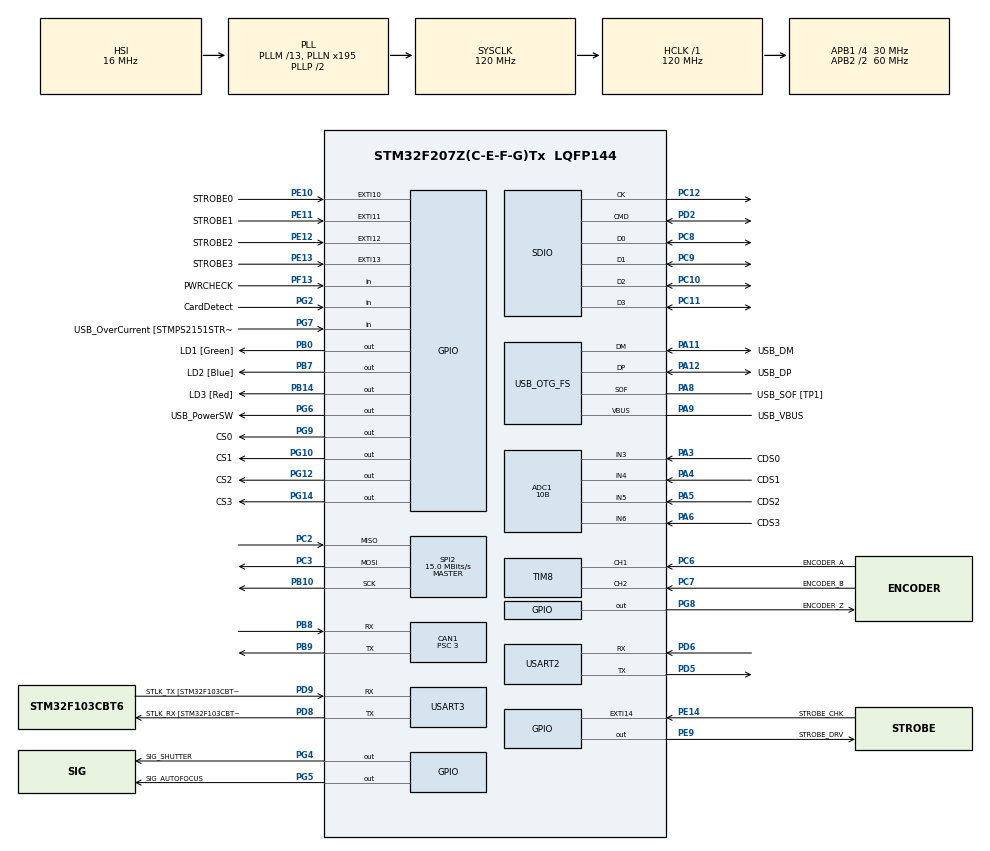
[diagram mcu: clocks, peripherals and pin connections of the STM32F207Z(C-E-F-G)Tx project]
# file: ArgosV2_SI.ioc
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ADC1.Channel-0\#ChannelRegularConversion=ADC_CHANNEL_3
ADC1.Channel-1\#ChannelRegularConversion=ADC_CHANNEL_4
ADC1.Channel-2\#ChannelRegularConversion=ADC_CHANNEL_5
ADC1.Channel-3\#ChannelRegularConversion=ADC_CHANNEL_6
ADC1.NbrOfConversion=4
ADC1.NbrOfConversionFlag=1
ADC1.Rank-0\#ChannelRegularConversion=1
ADC1.Rank-1\#ChannelRegularConversion=2
ADC1.Rank-2\#ChannelRegularConversion=3
ADC1.Rank-3\#ChannelRegularConversion=4
ADC1.Resolution=ADC_RESOLUTION_10B
ADC1.SamplingTime-0\#ChannelRegularConversion=ADC_SAMPLETIME_3CYCLES
ADC1.SamplingTime-1\#ChannelRegularConversion=ADC_SAMPLETIME_3CYCLES
ADC1.SamplingTime-2\#ChannelRegularConversion=ADC_SAMPLETIME_3CYCLES
ADC1.SamplingTime-3\#ChannelRegularConversion=ADC_SAMPLETIME_3CYCLES
ADC1.master=1
CAN1.BS1=CAN_BS1_8TQ
CAN1.CalculateBaudRate=1000000
CAN1.CalculateTimeBit=1000.00
CAN1.CalculateTimeQuantum=100.0
CAN1.Prescaler=3
Dma.ADC1.0.Direction=DMA_PERIPH_TO_MEMORY
Dma.ADC1.0.FIFOMode=DMA_FIFOMODE_DISABLE
Dma.ADC1.0.Instance=DMA2_Stream0
Dma.ADC1.0.MemDataAlignment=DMA_MDATAALIGN_WORD
Dma.ADC1.0.MemInc=DMA_MINC_ENABLE
Dma.ADC1.0.Mode=DMA_CIRCULAR
Dma.ADC1.0.PeriphDataAlignment=DMA_PDATAALIGN_WORD
Dma.ADC1.0.PeriphInc=DMA_PINC_DISABLE
Dma.ADC1.0.Priority=DMA_PRIORITY_LOW
Dma.Request0=ADC1
Dma.Request1=SDIO_RX
Dma.Request2=SDIO_TX
Dma.Request3=SPI2_RX
Dma.Request4=SPI2_TX
Dma.Request5=USART2_RX
Dma.Request6=USART2_TX
Dma.SDIO_RX.1.Direction=DMA_PERIPH_TO_MEMORY
Dma.SDIO_RX.1.FIFOMode=DMA_FIFOMODE_ENABLE
Dma.SDIO_RX.1.FIFOThreshold=DMA_FIFO_THRESHOLD_FULL
Dma.SDIO_RX.1.Instance=DMA2_Stream3
Dma.SDIO_RX.1.MemBurst=DMA_MBURST_INC4
Dma.SDIO_RX.1.MemDataAlignment=DMA_MDATAALIGN_WORD
Dma.SDIO_RX.1.MemInc=DMA_MINC_ENABLE
Dma.SDIO_RX.1.Mode=DMA_PFCTRL
Dma.SDIO_RX.1.PeriphBurst=DMA_PBURST_INC4
Dma.SDIO_RX.1.PeriphDataAlignment=DMA_PDATAALIGN_WORD
Dma.SDIO_RX.1.PeriphInc=DMA_PINC_DISABLE
Dma.SDIO_RX.1.Priority=DMA_PRIORITY_LOW
Dma.SDIO_TX.2.Direction=DMA_MEMORY_TO_PERIPH
Dma.SDIO_TX.2.FIFOMode=DMA_FIFOMODE_ENABLE
Dma.SDIO_TX.2.FIFOThreshold=DMA_FIFO_THRESHOLD_FULL
Dma.SDIO_TX.2.Instance=DMA2_Stream6
Dma.SDIO_TX.2.MemBurst=DMA_MBURST_INC4
Dma.SDIO_TX.2.MemDataAlignment=DMA_MDATAALIGN_WORD
Dma.SDIO_TX.2.MemInc=DMA_MINC_ENABLE
Dma.SDIO_TX.2.Mode=DMA_PFCTRL
Dma.SDIO_TX.2.PeriphBurst=DMA_PBURST_INC4
Dma.SDIO_TX.2.PeriphDataAlignment=DMA_PDATAALIGN_WORD
Dma.SDIO_TX.2.PeriphInc=DMA_PINC_DISABLE
Dma.SDIO_TX.2.Priority=DMA_PRIORITY_LOW
Dma.SPI2_RX.3.Direction=DMA_PERIPH_TO_MEMORY
Dma.SPI2_RX.3.FIFOMode=DMA_FIFOMODE_DISABLE
Dma.SPI2_RX.3.Instance=DMA1_Stream3
Dma.SPI2_RX.3.MemDataAlignment=DMA_MDATAALIGN_BYTE
Dma.SPI2_RX.3.MemInc=DMA_MINC_ENABLE
Dma.SPI2_RX.3.Mode=DMA_NORMAL
Dma.SPI2_RX.3.PeriphDataAlignment=DMA_PDATAALIGN_BYTE
Dma.SPI2_RX.3.PeriphInc=DMA_PINC_DISABLE
Dma.SPI2_RX.3.Priority=DMA_PRIORITY_LOW
Dma.SPI2_TX.4.Direction=DMA_MEMORY_TO_PERIPH
Dma.SPI2_TX.4.FIFOMode=DMA_FIFOMODE_DISABLE
Dma.SPI2_TX.4.Instance=DMA1_Stream4
Dma.SPI2_TX.4.MemDataAlignment=DMA_MDATAALIGN_BYTE
Dma.SPI2_TX.4.MemInc=DMA_MINC_ENABLE
Dma.SPI2_TX.4.Mode=DMA_NORMAL
Dma.SPI2_TX.4.PeriphDataAlignment=DMA_PDATAALIGN_BYTE
Dma.SPI2_TX.4.PeriphInc=DMA_PINC_DISABLE
Dma.SPI2_TX.4.Priority=DMA_PRIORITY_LOW
Dma.USART2_RX.5.Direction=DMA_PERIPH_TO_MEMORY
Dma.USART2_RX.5.FIFOMode=DMA_FIFOMODE_DISABLE
Dma.USART2_RX.5.Instance=DMA1_Stream5
Dma.USART2_RX.5.MemDataAlignment=DMA_MDATAALIGN_BYTE
Dma.USART2_RX.5.MemInc=DMA_MINC_ENABLE
Dma.USART2_RX.5.Mode=DMA_NORMAL
Dma.USART2_RX.5.PeriphDataAlignment=DMA_PDATAALIGN_BYTE
Dma.USART2_RX.5.PeriphInc=DMA_PINC_DISABLE
Dma.USART2_RX.5.Priority=DMA_PRIORITY_LOW
Dma.USART2_TX.6.Direction=DMA_MEMORY_TO_PERIPH
Dma.USART2_TX.6.FIFOMode=DMA_FIFOMODE_DISABLE
Dma.USART2_TX.6.Instance=DMA1_Stream6
Dma.USART2_TX.6.MemDataAlignment=DMA_MDATAALIGN_BYTE
Dma.USART2_TX.6.MemInc=DMA_MINC_ENABLE
Dma.USART2_TX.6.Mode=DMA_NORMAL
Dma.USART2_TX.6.PeriphDataAlignment=DMA_PDATAALIGN_BYTE
Dma.USART2_TX.6.PeriphInc=DMA_PINC_DISABLE
Dma.USART2_TX.6.Priority=DMA_PRIORITY_LOW
FATFS.BSP.number=1
FATFS._CODE_PAGE=949
FATFS._LFN_UNICODE=1
FATFS._USE_LFN=2
FATFS0.BSP.STBoard=false
FATFS0.BSP.api=Unknown
FATFS0.BSP.i2caddr=0
FATFS0.BSP.instance=PG2
FATFS0.BSP.ip=GPIO
FATFS0.BSP.mode=Input
FATFS0.BSP.name=Detect_SDIO
FATFS0.BSP.solution=PG2
Mcu.Family=STM32F2
Mcu.Name=STM32F207Z(C-E-F-G)Tx
Mcu.Package=LQFP144
NVIC.ADC_IRQn=true\:1\:0\:true\:false\:true\:true\:true
NVIC.CAN1_RX0_IRQn=true\:1\:0\:true\:false\:true\:true\:true
NVIC.CAN1_RX1_IRQn=true\:1\:0\:true\:false\:true\:true\:true
NVIC.CAN1_SCE_IRQn=true\:1\:0\:true\:false\:true\:true\:true
NVIC.CAN1_TX_IRQn=true\:1\:0\:true\:false\:true\:true\:true
NVIC.DMA1_Stream3_IRQn=true\:1\:0\:true\:false\:true\:false\:true
NVIC.DMA1_Stream4_IRQn=true\:1\:0\:true\:false\:true\:false\:true
NVIC.DMA1_Stream5_IRQn=true\:1\:0\:true\:false\:true\:false\:true
NVIC.DMA1_Stream6_IRQn=true\:1\:0\:true\:false\:true\:false\:true
NVIC.DMA2_Stream0_IRQn=true\:1\:0\:true\:false\:true\:false\:true
NVIC.DMA2_Stream3_IRQn=true\:1\:0\:true\:false\:true\:false\:true
NVIC.DMA2_Stream6_IRQn=true\:1\:0\:true\:false\:true\:false\:true
NVIC.EXTI15_10_IRQn=true\:0\:0\:true\:false\:true\:true\:true
NVIC.OTG_FS_IRQn=true\:1\:0\:true\:false\:true\:false\:true
NVIC.PriorityGroup=NVIC_PRIORITYGROUP_4
NVIC.SDIO_IRQn=true\:1\:0\:true\:false\:true\:true\:true
NVIC.SPI2_IRQn=true\:1\:0\:true\:false\:true\:true\:true
NVIC.TIM3_IRQn=true\:1\:0\:true\:false\:true\:true\:true
NVIC.USART2_IRQn=true\:1\:0\:true\:false\:true\:true\:true
PA10.GPIO_Label=USB_ID
PA10.Signal=USB_OTG_FS_ID
PA11.GPIO_Label=USB_DM
PA11.Mode=Device_Only
PA11.Signal=USB_OTG_FS_DM
PA12.GPIO_Label=USB_DP
PA12.Mode=Device_Only
PA12.Signal=USB_OTG_FS_DP
PA13.GPIO_Label=TMS
PA13.Mode=Serial_Wire
PA13.Signal=SYS_JTMS-SWDIO
PA14.GPIO_Label=TCK
PA14.Mode=Serial_Wire
PA14.Signal=SYS_JTCK-SWCLK
PA3.GPIO_Label=CDS0
PA3.Signal=ADCx_IN3
PA4.GPIO_Label=CDS1
PA4.Signal=ADCx_IN4
PA5.GPIO_Label=CDS2
PA5.Signal=ADCx_IN5
PA6.GPIO_Label=CDS3
PA6.Signal=ADCx_IN6
PA8.GPIO_Label=USB_SOF [TP1]
PA8.Mode=Activate_SOF_FS
PA8.Signal=USB_OTG_FS_SOF
PA9.GPIO_Label=USB_VBUS
PA9.Mode=Activate_VBUS
PA9.Signal=USB_OTG_FS_VBUS
PB0.GPIO_Label=LD1 [Green]
PB0.GPIO_Speed=GPIO_SPEED_FREQ_VERY_HIGH
PB0.Signal=GPIO_Output
PB10.Mode=Full_Duplex_Master
PB10.Signal=SPI2_SCK
PB14.GPIO_Label=LD3 [Red]
PB14.GPIO_Speed=GPIO_SPEED_FREQ_VERY_HIGH
PB14.Signal=GPIO_Output
PB3.GPIO_Label=SWO
PB3.Signal=SYS_JTDO-SWO
PB7.GPIO_Label=LD2 [Blue]
PB7.GPIO_Speed=GPIO_SPEED_FREQ_VERY_HIGH
PB7.Signal=GPIO_Output
PB8.Mode=CAN_Activate
PB8.Signal=CAN1_RX
PB9.Mode=CAN_Activate
PB9.Signal=CAN1_TX
PC10.GPIO_PuPd=GPIO_PULLUP
PC10.Mode=SD_4_bits_Wide_bus
PC10.Signal=SDIO_D2
PC11.GPIO_PuPd=GPIO_PULLUP
PC11.Mode=SD_4_bits_Wide_bus
PC11.Signal=SDIO_D3
PC12.GPIO_PuPd=GPIO_NOPULL
PC12.Mode=SD_4_bits_Wide_bus
PC12.Signal=SDIO_CK
PC14-OSC32_IN.Mode=LSE-External-Oscillator
PC14-OSC32_IN.Signal=RCC_OSC32_IN
PC15-OSC32_OUT.Mode=LSE-External-Oscillator
PC15-OSC32_OUT.Signal=RCC_OSC32_OUT
PC2.Mode=Full_Duplex_Master
PC2.Signal=SPI2_MISO
PC3.Mode=Full_Duplex_Master
PC3.Signal=SPI2_MOSI
PC6.GPIO_Label=ENCODER_A
PC6.Signal=S_TIM8_CH1
PC7.GPIO_Label=ENCODER_B
PC7.Signal=S_TIM8_CH2
PC8.GPIO_PuPd=GPIO_PULLUP
PC8.Mode=SD_4_bits_Wide_bus
PC8.Signal=SDIO_D0
PC9.GPIO_PuPd=GPIO_PULLUP
PC9.Mode=SD_4_bits_Wide_bus
PC9.Signal=SDIO_D1
PD2.GPIO_PuPd=GPIO_PULLUP
PD2.Mode=SD_4_bits_Wide_bus
PD2.Signal=SDIO_CMD
PD5.Mode=Asynchronous
PD5.Signal=USART2_TX
PD6.Mode=Asynchronous
PD6.Signal=USART2_RX
PD8.GPIO_Label=STLK_RX [STM32F103CBT6_PA3]
PD8.Mode=Asynchronous
PD8.Signal=USART3_TX
PD9.GPIO_Label=STLK_TX [STM32F103CBT6_PA2]
PD9.Mode=Asynchronous
PD9.Signal=USART3_RX
PE10.GPIO_Label=STROBE0
PE10.Signal=GPXTI10
PE11.GPIO_Label=STROBE1
PE11.Signal=GPXTI11
PE12.GPIO_Label=STROBE2
PE12.Signal=GPXTI12
PE13.GPIO_Label=STROBE3
PE13.Signal=GPXTI13
PE14.GPIO_Label=STROBE_CHK
PE14.Signal=GPXTI14
PE9.GPIO_Label=STROBE_DRV
PE9.GPIO_Speed=GPIO_SPEED_FREQ_VERY_HIGH
PE9.Signal=GPIO_Output
PF13.GPIO_Label=PWRCHECK
PF13.GPIO_PuPd=GPIO_PULLDOWN
PF13.Signal=GPIO_Input
PG10.GPIO_Label=CS1
PG10.Signal=GPIO_Output
PG12.GPIO_Label=CS2
PG12.Signal=GPIO_Output
PG14.GPIO_Label=CS3
PG14.Signal=GPIO_Output
PG2.GPIO_Label=CardDetect
PG2.GPIO_PuPd=GPIO_PULLUP
PG2.Signal=GPIO_Input
PG4.GPIO_Label=SIG_SHUTTER
PG4.GPIO_Speed=GPIO_SPEED_FREQ_VERY_HIGH
PG4.Signal=GPIO_Output
PG5.GPIO_Label=SIG_AUTOFOCUS
PG5.Signal=GPIO_Output
PG6.GPIO_Label=USB_PowerSW
PG6.Signal=GPIO_Output
PG7.GPIO_Label=USB_OverCurrent [STMPS2151STR_FAULT]
PG7.Signal=GPIO_Input
PG8.GPIO_Label=ENCODER_Z
PG8.Signal=GPIO_Output
PG9.GPIO_Label=CS0
PG9.Signal=GPIO_Output
PH0-OSC_IN.GPIO_Label=MCO [STM32F103CBT6_PA8]
PH0-OSC_IN.Mode=HSE-External-Clock-Source
PH0-OSC_IN.Signal=RCC_OSC_IN
PH1-OSC_OUT.Mode=HSE-External-Clock-Source
PH1-OSC_OUT.Signal=RCC_OSC_OUT
ProjectManager.HeapSize=0x400
ProjectManager.StackSize=0x400
ProjectManager.TargetToolchain=STM32CubeIDE
RCC.48MHZClocksFreq_Value=48000000
RCC.AHBFreq_Value=120000000
RCC.APB1CLKDivider=RCC_HCLK_DIV4
RCC.APB1Freq_Value=30000000
RCC.APB1TimFreq_Value=60000000
RCC.APB2CLKDivider=RCC_HCLK_DIV2
RCC.APB2Freq_Value=60000000
RCC.APB2TimFreq_Value=120000000
RCC.CortexFreq_Value=120000000
RCC.HCLKFreq_Value=120000000
RCC.HSE_VALUE=8000000
RCC.HSI_VALUE=16000000
RCC.PLLM=13
RCC.PLLMUL=RCC_PLL_MUL9
RCC.PLLN=195
RCC.PLLQ=5
RCC.PRESCALERUSB=RCC_USBCLKSOURCE_PLL_DIV1_5
RCC.SYSCLKFreq_VALUE=120000000
RCC.SYSCLKSource=RCC_SYSCLKSOURCE_PLLCLK
RCC.SYSCLKSourceVirtual=RCC_SYSCLKSOURCE_PLLCLK
RCC.USBFreq_Value=48000000
RCC.VCOOutputFreq_Value=240000000
SDIO.ClockDiv=1
SH.ADCx_IN3.0=ADC1_IN3,IN3
SH.ADCx_IN4.0=ADC1_IN4,IN4
SH.ADCx_IN5.0=ADC1_IN5,IN5
SH.ADCx_IN6.0=ADC1_IN6,IN6
SH.S_TIM8_CH1.0=TIM8_CH1,Encoder_Interface
SH.S_TIM8_CH2.0=TIM8_CH2,Encoder_Interface
SPI2.CalculateBaudRate=15.0 MBits/s
SPI2.Direction=SPI_DIRECTION_2LINES
SPI2.Mode=SPI_MODE_MASTER
SPI2.VirtualType=VM_MASTER
TIM3.Period=99
TIM3.Prescaler=5999
TIM8.AutoReloadPreload=TIM_AUTORELOAD_PRELOAD_ENABLE
TIM8.EncoderMode=TIM_ENCODERMODE_TI1
USART2.VirtualMode=VM_ASYNC
USART3.VirtualMode=VM_ASYNC
USB_DEVICE.APP_RX_DATA_SIZE-CDC_FS=200
USB_DEVICE.APP_TX_DATA_SIZE-CDC_FS=200
USB_DEVICE.CLASS_NAME_FS=CDC
USB_DEVICE.MANUFACTURER_STRING-CDC_FS=Stryx.Inc
USB_DEVICE.PRODUCT_STRING_CDC_FS=WebMMS_Main
USB_DEVICE.VirtualMode-CDC_FS=Cdc
USB_DEVICE.VirtualModeFS=Cdc_FS
USB_OTG_FS.VirtualMode=Device_Only
VP_FATFS_VS_SDIO.Mode=SDIO
VP_TIM3_VS_ClockSourceINT.Mode=Internal
VP_USB_DEVICE_VS_USB_DEVICE_CDC_FS.Mode=CDC_FS
board=NUCLEO-F207ZG

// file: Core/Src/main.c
/* USER CODE BEGIN Header */
/**
 ******************************************************************************
 * @file           : main.c
 * @brief          : Main program body
 ******************************************************************************
 * @attention
 *
 * <h2><center>&copy; Copyright (c) 2020 STMicroelectronics.
 * All rights reserved.</center></h2>
 *
 * This software component is licensed by ST under BSD 3-Clause license,
 * the "License"; You may not use this file except in compliance with the
 * License. You may obtain a copy of the License at:
 *                        opensource.org/licenses/BSD-3-Clause
 *
 ******************************************************************************
 */
/* USER CODE END Header */
#include "main.h"
#include "fatfs.h"
#include "usb_device.h"

/* USER CODE BEGIN Includes */
#include <stdio.h>
#include <stdbool.h>
#include <string.h>
#include <stdlib.h>

/* USER CODE END Includes */

/* USER CODE BEGIN PD */
#define BACKUP_FLASH_ADDR 0x080E0000

#define TARGET_PULSE_NUMBER		1

#define DIVISOR					1

#define ENCODER_PULSE_COUNT		2000

#define TARGET_DISTANCE			1.0f
/* USER CODE END PD */

ADC_HandleTypeDef hadc1;
DMA_HandleTypeDef hdma_adc1;

CAN_HandleTypeDef hcan1;

SD_HandleTypeDef hsd;
DMA_HandleTypeDef hdma_sdio_rx;
DMA_HandleTypeDef hdma_sdio_tx;

SPI_HandleTypeDef hspi2;
DMA_HandleTypeDef hdma_spi2_rx;
DMA_HandleTypeDef hdma_spi2_tx;

TIM_HandleTypeDef htim8;

UART_HandleTypeDef huart2;
UART_HandleTypeDef huart3;
DMA_HandleTypeDef hdma_usart2_rx;
DMA_HandleTypeDef hdma_usart2_tx;

/* USER CODE BEGIN PV */

extern struct netif gnetif;

// CAN BUS
CAN_FilterTypeDef can_filter_cfg;
CAN_RxHeaderTypeDef can_rx_header;
CAN_TxHeaderTypeDef can_tx_header;
uint8_t can_rx_data[8];
uint8_t can_tx_data[8]; // uint8_t TxData[8];
uint32_t can_tx_mail_box;

//SD CARD
FATFS sd_fatfs; /* File system object for SD disk logical drive */
FIL sd_myfile; /* File object */
char sd_path[4]; /* SD disk logical drive path */
//static uint8_t buffer[_MAX_SS]; /* a work buffer for the f_mkfs() */

// Auto Trigger Flag
uint8_t run_f = 0;

// DMI variable, Encoder variable
int a_pls_cnt = 0, b_pls_cnt = 0;
int input_enc_val = 0;

// USB Flag, Buffer
uint8_t usb_sel_f = 0, enterkey_f = 0; // USB Select Flag, Enter key input
uint8_t usb_tx_buf[300]; // USB Tx, ADC print buf
extern uint8_t usb_rx_buf[200]; // USB Rx
int usbselect = 2;

// ADC variable
uint8_t setcdsvalue;
int adc_value[4]; // ADC DATA SAVE

// Strobe Count, Check
uint16_t stb_cnt0, stb_cnt1, stb_cnt2, stb_cnt3, stb_cnt_all; // STROBE Count
uint8_t stb_chk0, stb_chk1, stb_chk2, stb_chk3; // STROBE CHECK FLAG

// Camera
uint8_t spi_cam_select = 0;
uint8_t spi_cam_value = 0;

/* USER CODE END PV */

void SystemClock_Config(void);
static void MX_GPIO_Init(void);
static void MX_DMA_Init(void);
static void MX_USART3_UART_Init(void);
static void MX_TIM3_Init(void);
static void MX_ADC1_Init(void);
static void MX_SDIO_SD_Init(void);
static void MX_TIM8_Init(void);
static void MX_SPI2_Init(void);
static void MX_CAN1_Init(void);
static void MX_USART2_UART_Init(void);

/* USER CODE BEGIN 0 */
void HAL_GPIO_EXTI_Callback(uint16_t GPIO_Pin)
{ // Strobe CHK
	if (GPIO_Pin & STROBE0_Pin)
	{
		HAL_GPIO_TogglePin(LD1_GPIO_Port, LD1_Pin);
		stb_chk0 = 1;
		stb_cnt0++;
	}
	if (GPIO_Pin & STROBE1_Pin)
	{
		HAL_GPIO_TogglePin(LD2_GPIO_Port, LD2_Pin);
		stb_chk1 = 1;
		stb_cnt1++;
	}
	if (GPIO_Pin & STROBE2_Pin)
	{
		HAL_GPIO_TogglePin(LD3_GPIO_Port, LD3_Pin);
		stb_chk2 = 1;
		stb_cnt2++;
	}
	if (GPIO_Pin & STROBE3_Pin)
	{
		stb_chk3 = 1;
		stb_cnt3++;
	}

	if (GPIO_Pin & STROBE_CHK_Pin)
	{
		stb_cnt_all = stb_chk0 + stb_chk1 + stb_chk2 + stb_chk3;

		sprintf((char*) usb_tx_buf, "#STROBE,%d\n", stb_cnt_all);
		CDC_Transmit_FS((uint8_t*) usb_tx_buf,
				strlen((const char*) usb_tx_buf));
		stb_chk0 = 0;
		stb_chk1 = 0;
		stb_chk2 = 0;
		stb_chk3 = 0;

		// MARK DRIVE
		HAL_GPIO_WritePin(STROBE_DRV_GPIO_Port, STROBE_DRV_Pin, GPIO_PIN_SET);

		// AUTO FOCUS, SHUTTER PIN RESET
		HAL_GPIO_WritePin(SIG_AUTOFOCUS_GPIO_Port, SIG_AUTOFOCUS_Pin,
				GPIO_PIN_RESET);
		HAL_GPIO_WritePin(SIG_SHUTTER_GPIO_Port, SIG_SHUTTER_Pin,
				GPIO_PIN_RESET);
	}
}

void can_transmit(int data)
{
	can_tx_mail_box = HAL_CAN_GetTxMailboxesFreeLevel(&hcan1);
	can_tx_data[0] = data;
	HAL_CAN_AddTxMessage(&hcan1, &can_tx_header, can_tx_data, &can_tx_mail_box);
}

void cam_conf(uint8_t camera, uint16_t value)
{
	// SPI 1. CS pin reset >> SPI Transmit >> CS pin set
	switch (camera)
	{
	case 0:
		HAL_GPIO_WritePin(CS0_GPIO_Port, CS0_Pin, GPIO_PIN_RESET);
		HAL_SPI_Transmit(&hspi2, (uint8_t*) &value, 2, 1000);
		HAL_GPIO_WritePin(CS0_GPIO_Port, CS0_Pin, GPIO_PIN_SET);
		break;
	case 1:
		HAL_GPIO_WritePin(CS1_GPIO_Port, CS1_Pin, GPIO_PIN_RESET);
		HAL_SPI_Transmit(&hspi2, (uint8_t*) &value, 2, 1000);
		HAL_GPIO_WritePin(CS1_GPIO_Port, CS1_Pin, GPIO_PIN_SET);
		break;
	case 2:
		HAL_GPIO_WritePin(CS2_GPIO_Port, CS2_Pin, GPIO_PIN_RESET);
		HAL_SPI_Transmit(&hspi2, (uint8_t*) &value, 2, 1000);
		HAL_GPIO_WritePin(CS2_GPIO_Port, CS2_Pin, GPIO_PIN_SET);
		break;
	case 3:
		HAL_GPIO_WritePin(CS3_GPIO_Port, CS3_Pin, GPIO_PIN_RESET);
		HAL_SPI_Transmit(&hspi2, (uint8_t*) &value, 2, 1000);
		HAL_GPIO_WritePin(CS3_GPIO_Port, CS3_Pin, GPIO_PIN_SET);
		break;
	default:
		break;
	}
}
void cam_act()
{
	HAL_GPIO_WritePin(SIG_AUTOFOCUS_GPIO_Port, SIG_AUTOFOCUS_Pin, GPIO_PIN_SET);
	HAL_GPIO_WritePin(SIG_SHUTTER_GPIO_Port, SIG_SHUTTER_Pin, GPIO_PIN_SET);
	HAL_GPIO_WritePin(STROBE_DRV_GPIO_Port, STROBE_DRV_Pin, GPIO_PIN_RESET);
	LL_TIM_ClearFlag_UPDATE(TIM3);
	LL_TIM_EnableCounter(TIM3);
}

void cds_print()
{
	HAL_ADC_Start_DMA(&hadc1, (uint32_t*) adc_value, 4);
	for (int i = 0; i < 4; i++)
	{
		HAL_DMA_PollForTransfer(&hdma_adc1, HAL_DMA_FULL_TRANSFER, 1000);
	}
	HAL_ADC_Stop_DMA(&hadc1);
	switch (setcdsvalue)
	{
	case 1:
		break;
		sprintf((char*) usb_tx_buf, "#CDS,%04d\n", adc_value[0]);
	case 2:
		break;
		sprintf((char*) usb_tx_buf, "#CDS,%04d,%04d\n", adc_value[0],
				adc_value[1]);
	case 3:
		break;
		sprintf((char*) usb_tx_buf, "#CDS,%04dm%04dm%04d\n", adc_value[0],
				adc_value[1], adc_value[2]);
	case 4:
		break;
		sprintf((char*) usb_tx_buf, "#CDS,%04d,%04d,%04d,%04d\n", adc_value[0],
				adc_value[1], adc_value[2], adc_value[3]);
	default:
		sprintf((char*) usb_tx_buf, "#CDS,%04d,%04d\n", adc_value[0],
				adc_value[1]);
		break;
	}
	CDC_Transmit_FS((uint8_t*) usb_tx_buf, strlen((const char*) usb_tx_buf));
}

float diameter(float radius)
{
	return (2 * 3.1415 * radius);
}

float n_of_rot_to_photo_dist(float tgt_dist, float w_diameter)
{
	return (tgt_dist / w_diameter);
}

int tgt_pls_cnt(float w_turn_enc_pls, int enc_pls_f)
{
	return (int) ((((w_turn_enc_pls * enc_pls_f) / TARGET_PULSE_NUMBER)
			/ DIVISOR));
}

/* USER CODE END 0 */

int main(void)
{
	/* USER CODE BEGIN 1 */
	wheel_param_t wp;
	memcpy(&wp, (void*) (BACKUP_FLASH_ADDR), sizeof(wheel_param_t));

	stb_cnt0 = 0;
	stb_cnt1 = 0;
	stb_cnt2 = 0;
	stb_cnt3 = 0;
	stb_cnt_all = 0;
	/* USER CODE END 1 */

	/* MCU Configuration--------------------------------------------------------*/

	/* Reset of all peripherals, Initializes the Flash interface and the Systick. */
	HAL_Init();

	/* Configure the system clock */
	SystemClock_Config();

	/* Initialize all configured peripherals */
	MX_GPIO_Init();
	MX_DMA_Init();
	MX_USART3_UART_Init();
	MX_USB_DEVICE_Init();
	MX_TIM3_Init();
	MX_ADC1_Init();
	MX_SDIO_SD_Init();
	MX_TIM8_Init();
	MX_FATFS_Init();
	MX_SPI2_Init();
	MX_CAN1_Init();
	MX_USART2_UART_Init();
	/* USER CODE BEGIN 2 */
	LL_TIM_EnableIT_UPDATE(TIM3);
	HAL_TIM_Encoder_Start(&htim8, TIM_CHANNEL_1); // DMI TIMER
	//udp_echoserver_init(); // UDP

	HAL_CAN_Start(&hcan1); // CANBUS
	HAL_CAN_ActivateNotification(&hcan1, CAN_IT_RX_FIFO0_MSG_PENDING);

	/* USER CODE END 2 */

	/* Infinite loop */
	/* USER CODE BEGIN WHILE */
	usb_sel_f = 0;
	run_f = 0;

	while (1)
	{

		switch (usb_sel_f)
		{
		case 1:
			CDC_Transmit_FS((uint8_t*) "Input EncoderTargetCount\r\n", 26);
			while (!enterkey_f)
			{
			}
			enterkey_f = 0;
			input_enc_val = atoi((char*) usb_rx_buf);
			wp.enc_val_for_photo_dist = input_enc_val;
			usb_sel_f = 0;
			run_f = 0;
			break;
		default:
			usb_sel_f = 0;
		}

		if (run_f == 1)
		{
			a_pls_cnt = TIM8->CNT;

			// CW CODE
			if (a_pls_cnt >= wp.enc_val_for_photo_dist && a_pls_cnt < 65500)
			{
				TIM8->CNT = 0;
				cds_print();
				//cam_act(); // Driver Control
			}
			else if (a_pls_cnt <= 0 || a_pls_cnt > 65500)
			{
				a_pls_cnt = 0;
				//b_pls_cnt = 0;
				TIM8->CNT = 0;
			}

			/*
			 // CCW CODE
			 if (a_pls_cnt <= 65535 - wp.enc_val_for_photo_dist && a_pls_cnt > 35)
			 {
			 TIM8->CNT = 65535;
			 cds_print();
			 //cam_act(); // Driver Control
			 }

			 else if (a_pls_cnt <= 0 || a_pls_cnt < 35)
			 {
			 a_pls_cnt = 65535;
			 //b_pls_cnt = 65535;
			 TIM8->CNT = 65535;
			 }
			 */
		}
		/* USER CODE END WHILE */

	}
}

void SystemClock_Config(void)
{
	RCC_OscInitTypeDef RCC_OscInitStruct =
	{ 0 };
	RCC_ClkInitTypeDef RCC_ClkInitStruct =
	{ 0 };

	/** Initializes the RCC Oscillators according to the specified parameters
	 * in the RCC_OscInitTypeDef structure.
	 */
	RCC_OscInitStruct.OscillatorType = RCC_OSCILLATORTYPE_HSI;
	RCC_OscInitStruct.HSIState = RCC_HSI_ON;
	RCC_OscInitStruct.HSICalibrationValue = RCC_HSICALIBRATION_DEFAULT;
	RCC_OscInitStruct.PLL.PLLState = RCC_PLL_ON;
	RCC_OscInitStruct.PLL.PLLSource = RCC_PLLSOURCE_HSI;
	RCC_OscInitStruct.PLL.PLLM = 13;
	RCC_OscInitStruct.PLL.PLLN = 195;
	RCC_OscInitStruct.PLL.PLLP = RCC_PLLP_DIV2;
	RCC_OscInitStruct.PLL.PLLQ = 5;
	if (HAL_RCC_OscConfig(&RCC_OscInitStruct) != HAL_OK)
	{
		Error_Handler();
	}
	/** Initializes the CPU, AHB and APB buses clocks
	 */
	RCC_ClkInitStruct.ClockType = RCC_CLOCKTYPE_HCLK | RCC_CLOCKTYPE_SYSCLK
			| RCC_CLOCKTYPE_PCLK1 | RCC_CLOCKTYPE_PCLK2;
	RCC_ClkInitStruct.SYSCLKSource = RCC_SYSCLKSOURCE_PLLCLK;
	RCC_ClkInitStruct.AHBCLKDivider = RCC_SYSCLK_DIV1;
	RCC_ClkInitStruct.APB1CLKDivider = RCC_HCLK_DIV4;
	RCC_ClkInitStruct.APB2CLKDivider = RCC_HCLK_DIV2;

	if (HAL_RCC_ClockConfig(&RCC_ClkInitStruct, FLASH_LATENCY_3) != HAL_OK)
	{
		Error_Handler();
	}
}

static void MX_ADC1_Init(void)
{

	ADC_ChannelConfTypeDef sConfig =
	{ 0 };

	/** Configure the global features of the ADC (Clock, Resolution, Data Alignment and number of conversion)
	 */
	hadc1.Instance = ADC1;
	hadc1.Init.ClockPrescaler = ADC_CLOCK_SYNC_PCLK_DIV2;
	hadc1.Init.Resolution = ADC_RESOLUTION_10B;
	hadc1.Init.ScanConvMode = ENABLE;
	hadc1.Init.ContinuousConvMode = DISABLE;
	hadc1.Init.DiscontinuousConvMode = DISABLE;
	hadc1.Init.ExternalTrigConvEdge = ADC_EXTERNALTRIGCONVEDGE_NONE;
	hadc1.Init.ExternalTrigConv = ADC_SOFTWARE_START;
	hadc1.Init.DataAlign = ADC_DATAALIGN_RIGHT;
	hadc1.Init.NbrOfConversion = 4;
	hadc1.Init.DMAContinuousRequests = DISABLE;
	hadc1.Init.EOCSelection = ADC_EOC_SINGLE_CONV;
	if (HAL_ADC_Init(&hadc1) != HAL_OK)
	{
		Error_Handler();
	}
	/** Configure for the selected ADC regular channel its corresponding rank in the sequencer and its sample time.
	 */
	sConfig.Channel = ADC_CHANNEL_3;
	sConfig.Rank = 1;
	sConfig.SamplingTime = ADC_SAMPLETIME_3CYCLES;
	if (HAL_ADC_ConfigChannel(&hadc1, &sConfig) != HAL_OK)
	{
		Error_Handler();
	}
	/** Configure for the selected ADC regular channel its corresponding rank in the sequencer and its sample time.
	 */
	sConfig.Channel = ADC_CHANNEL_4;
	sConfig.Rank = 2;
	if (HAL_ADC_ConfigChannel(&hadc1, &sConfig) != HAL_OK)
	{
		Error_Handler();
	}
	/** Configure for the selected ADC regular channel its corresponding rank in the sequencer and its sample time.
	 */
	sConfig.Channel = ADC_CHANNEL_5;
	sConfig.Rank = 3;
	if (HAL_ADC_ConfigChannel(&hadc1, &sConfig) != HAL_OK)
	{
		Error_Handler();
	}
	/** Configure for the selected ADC regular channel its corresponding rank in the sequencer and its sample time.
	 */
	sConfig.Channel = ADC_CHANNEL_6;
	sConfig.Rank = 4;
	if (HAL_ADC_ConfigChannel(&hadc1, &sConfig) != HAL_OK)
	{
		Error_Handler();
	}

}

static void MX_CAN1_Init(void)
{

	/* USER CODE BEGIN CAN1_Init 0 */
	CAN_FilterTypeDef sFilterConfig;

	/* USER CODE END CAN1_Init 0 */

	hcan1.Instance = CAN1;
	hcan1.Init.Prescaler = 3;
	hcan1.Init.Mode = CAN_MODE_NORMAL;
	hcan1.Init.SyncJumpWidth = CAN_SJW_1TQ;
	hcan1.Init.TimeSeg1 = CAN_BS1_8TQ;
	hcan1.Init.TimeSeg2 = CAN_BS2_1TQ;
	hcan1.Init.TimeTriggeredMode = DISABLE;
	hcan1.Init.AutoBusOff = DISABLE;
	hcan1.Init.AutoWakeUp = DISABLE;
	hcan1.Init.AutoRetransmission = DISABLE;
	hcan1.Init.ReceiveFifoLocked = DISABLE;
	hcan1.Init.TransmitFifoPriority = DISABLE;
	if (HAL_CAN_Init(&hcan1) != HAL_OK)
	{
		Error_Handler();
	}
	/* USER CODE BEGIN CAN1_Init 2 */
	sFilterConfig.FilterBank = 0;
	sFilterConfig.FilterMode = CAN_FILTERMODE_IDMASK;
	sFilterConfig.FilterScale = CAN_FILTERSCALE_32BIT;
	sFilterConfig.FilterIdHigh = 0x0000 << 5;
	sFilterConfig.FilterIdLow = 0x0000;
	sFilterConfig.FilterMaskIdHigh = 0x0000 << 5;
	sFilterConfig.FilterMaskIdLow = 0x0000;
	//sFilterConfig.FilterFIFOAssignment = CAN_RX_FIFO0;
	sFilterConfig.FilterFIFOAssignment = 0;
	sFilterConfig.FilterActivation = ENABLE;
	//sFilterConfig.SlaveStartFilterBank = 14;
	sFilterConfig.SlaveStartFilterBank = 0;

	if (HAL_CAN_ConfigFilter(&hcan1, &sFilterConfig) != HAL_OK)
	{
		/* Filter configuration Error */
		Error_Handler();
	}

	/*##-5- Configure Transmission process #####################################*/
	can_tx_header.StdId = 0x01;
	can_tx_header.ExtId = 0x01;
	can_tx_header.RTR = CAN_RTR_DATA;
	can_tx_header.IDE = CAN_ID_STD;
	can_tx_header.DLC = 8;
	can_tx_header.TransmitGlobalTime = DISABLE;
	/* USER CODE END CAN1_Init 2 */

}

static void MX_SDIO_SD_Init(void)
{

	hsd.Instance = SDIO;
	hsd.Init.ClockEdge = SDIO_CLOCK_EDGE_RISING;
	hsd.Init.ClockBypass = SDIO_CLOCK_BYPASS_DISABLE;
	hsd.Init.ClockPowerSave = SDIO_CLOCK_POWER_SAVE_DISABLE;
	hsd.Init.BusWide = SDIO_BUS_WIDE_1B;
	hsd.Init.HardwareFlowControl = SDIO_HARDWARE_FLOW_CONTROL_DISABLE;
	hsd.Init.ClockDiv = 1;

}

static void MX_SPI2_Init(void)
{

	/* SPI2 parameter configuration*/
	hspi2.Instance = SPI2;
	hspi2.Init.Mode = SPI_MODE_MASTER;
	hspi2.Init.Direction = SPI_DIRECTION_2LINES;
	hspi2.Init.DataSize = SPI_DATASIZE_8BIT;
	hspi2.Init.CLKPolarity = SPI_POLARITY_LOW;
	hspi2.Init.CLKPhase = SPI_PHASE_1EDGE;
	hspi2.Init.NSS = SPI_NSS_SOFT;
	hspi2.Init.BaudRatePrescaler = SPI_BAUDRATEPRESCALER_2;
	hspi2.Init.FirstBit = SPI_FIRSTBIT_MSB;
	hspi2.Init.TIMode = SPI_TIMODE_DISABLE;
	hspi2.Init.CRCCalculation = SPI_CRCCALCULATION_DISABLE;
	hspi2.Init.CRCPolynomial = 10;
	if (HAL_SPI_Init(&hspi2) != HAL_OK)
	{
		Error_Handler();
	}

}

static void MX_TIM3_Init(void)
{

	LL_TIM_InitTypeDef TIM_InitStruct =
	{ 0 };

	/* Peripheral clock enable */
	LL_APB1_GRP1_EnableClock(LL_APB1_GRP1_PERIPH_TIM3);

	/* TIM3 interrupt Init */
	NVIC_SetPriority(TIM3_IRQn,
			NVIC_EncodePriority(NVIC_GetPriorityGrouping(), 1, 0));
	NVIC_EnableIRQ(TIM3_IRQn);

	TIM_InitStruct.Prescaler = 5999;
	TIM_InitStruct.CounterMode = LL_TIM_COUNTERMODE_UP;
	TIM_InitStruct.Autoreload = 99;
	TIM_InitStruct.ClockDivision = LL_TIM_CLOCKDIVISION_DIV1;
	LL_TIM_Init(TIM3, &TIM_InitStruct);
	LL_TIM_DisableARRPreload(TIM3);
	LL_TIM_SetClockSource(TIM3, LL_TIM_CLOCKSOURCE_INTERNAL);
	LL_TIM_SetTriggerOutput(TIM3, LL_TIM_TRGO_RESET);
	LL_TIM_DisableMasterSlaveMode(TIM3);

}

static void MX_TIM8_Init(void)
{

	TIM_Encoder_InitTypeDef sConfig =
	{ 0 };
	TIM_MasterConfigTypeDef sMasterConfig =
	{ 0 };

	htim8.Instance = TIM8;
	htim8.Init.Prescaler = 0;
	htim8.Init.CounterMode = TIM_COUNTERMODE_UP;
	htim8.Init.Period = 65535;
	htim8.Init.ClockDivision = TIM_CLOCKDIVISION_DIV1;
	htim8.Init.RepetitionCounter = 0;
	htim8.Init.AutoReloadPreload = TIM_AUTORELOAD_PRELOAD_ENABLE;
	sConfig.EncoderMode = TIM_ENCODERMODE_TI1;
	sConfig.IC1Polarity = TIM_ICPOLARITY_RISING;
	sConfig.IC1Selection = TIM_ICSELECTION_DIRECTTI;
	sConfig.IC1Prescaler = TIM_ICPSC_DIV1;
	sConfig.IC1Filter = 0;
	sConfig.IC2Polarity = TIM_ICPOLARITY_RISING;
	sConfig.IC2Selection = TIM_ICSELECTION_DIRECTTI;
	sConfig.IC2Prescaler = TIM_ICPSC_DIV1;
	sConfig.IC2Filter = 0;
	if (HAL_TIM_Encoder_Init(&htim8, &sConfig) != HAL_OK)
	{
		Error_Handler();
	}
	sMasterConfig.MasterOutputTrigger = TIM_TRGO_RESET;
	sMasterConfig.MasterSlaveMode = TIM_MASTERSLAVEMODE_DISABLE;
	if (HAL_TIMEx_MasterConfigSynchronization(&htim8, &sMasterConfig) != HAL_OK)
	{
		Error_Handler();
	}

}

static void MX_USART2_UART_Init(void)
{

	huart2.Instance = USART2;
	huart2.Init.BaudRate = 115200;
	huart2.Init.WordLength = UART_WORDLENGTH_8B;
	huart2.Init.StopBits = UART_STOPBITS_1;
	huart2.Init.Parity = UART_PARITY_NONE;
	huart2.Init.Mode = UART_MODE_TX_RX;
	huart2.Init.HwFlowCtl = UART_HWCONTROL_NONE;
	huart2.Init.OverSampling = UART_OVERSAMPLING_16;
	if (HAL_UART_Init(&huart2) != HAL_OK)
	{
		Error_Handler();
	}

}

static void MX_USART3_UART_Init(void)
{

	huart3.Instance = USART3;
	huart3.Init.BaudRate = 115200;
	huart3.Init.WordLength = UART_WORDLENGTH_8B;
	huart3.Init.StopBits = UART_STOPBITS_1;
	huart3.Init.Parity = UART_PARITY_NONE;
	huart3.Init.Mode = UART_MODE_TX_RX;
	huart3.Init.HwFlowCtl = UART_HWCONTROL_NONE;
	huart3.Init.OverSampling = UART_OVERSAMPLING_16;
	if (HAL_UART_Init(&huart3) != HAL_OK)
	{
		Error_Handler();
	}

}

static void MX_DMA_Init(void)
{

	/* DMA controller clock enable */
	__HAL_RCC_DMA2_CLK_ENABLE();
	__HAL_RCC_DMA1_CLK_ENABLE();

	/* DMA interrupt init */
	/* DMA1_Stream3_IRQn interrupt configuration */
	HAL_NVIC_SetPriority(DMA1_Stream3_IRQn, 1, 0);
	HAL_NVIC_EnableIRQ(DMA1_Stream3_IRQn);
	/* DMA1_Stream4_IRQn interrupt configuration */
	HAL_NVIC_SetPriority(DMA1_Stream4_IRQn, 1, 0);
	HAL_NVIC_EnableIRQ(DMA1_Stream4_IRQn);
	/* DMA1_Stream5_IRQn interrupt configuration */
	HAL_NVIC_SetPriority(DMA1_Stream5_IRQn, 1, 0);
	HAL_NVIC_EnableIRQ(DMA1_Stream5_IRQn);
	/* DMA1_Stream6_IRQn interrupt configuration */
	HAL_NVIC_SetPriority(DMA1_Stream6_IRQn, 1, 0);
	HAL_NVIC_EnableIRQ(DMA1_Stream6_IRQn);
	/* DMA2_Stream0_IRQn interrupt configuration */
	HAL_NVIC_SetPriority(DMA2_Stream0_IRQn, 1, 0);
	HAL_NVIC_EnableIRQ(DMA2_Stream0_IRQn);
	/* DMA2_Stream3_IRQn interrupt configuration */
	HAL_NVIC_SetPriority(DMA2_Stream3_IRQn, 1, 0);
	HAL_NVIC_EnableIRQ(DMA2_Stream3_IRQn);
	/* DMA2_Stream6_IRQn interrupt configuration */
	HAL_NVIC_SetPriority(DMA2_Stream6_IRQn, 1, 0);
	HAL_NVIC_EnableIRQ(DMA2_Stream6_IRQn);

}

static void MX_GPIO_Init(void)
{
	GPIO_InitTypeDef GPIO_InitStruct =
	{ 0 };

	/* GPIO Ports Clock Enable */
	__HAL_RCC_GPIOC_CLK_ENABLE();
	__HAL_RCC_GPIOH_CLK_ENABLE();
	__HAL_RCC_GPIOA_CLK_ENABLE();
	__HAL_RCC_GPIOB_CLK_ENABLE();
	__HAL_RCC_GPIOF_CLK_ENABLE();
	__HAL_RCC_GPIOE_CLK_ENABLE();
	__HAL_RCC_GPIOD_CLK_ENABLE();
	__HAL_RCC_GPIOG_CLK_ENABLE();

	/*Configure GPIO pin Output Level */
	HAL_GPIO_WritePin(GPIOB, LD1_Pin | LD3_Pin | LD2_Pin, GPIO_PIN_RESET);

	/*Configure GPIO pin Output Level */
	HAL_GPIO_WritePin(STROBE_DRV_GPIO_Port, STROBE_DRV_Pin, GPIO_PIN_RESET);

	/*Configure GPIO pin Output Level */
	HAL_GPIO_WritePin(GPIOG,
			SIG_SHUTTER_Pin | SIG_AUTOFOCUS_Pin | USB_PowerSW_Pin
					| ENCODER_Z_Pin | CS0_Pin | CS1_Pin | CS2_Pin | CS3_Pin,
			GPIO_PIN_RESET);

	/*Configure GPIO pins : LD1_Pin LD3_Pin LD2_Pin */
	GPIO_InitStruct.Pin = LD1_Pin | LD3_Pin | LD2_Pin;
	GPIO_InitStruct.Mode = GPIO_MODE_OUTPUT_PP;
	GPIO_InitStruct.Pull = GPIO_NOPULL;
	GPIO_InitStruct.Speed = GPIO_SPEED_FREQ_VERY_HIGH;
	HAL_GPIO_Init(GPIOB, &GPIO_InitStruct);

	/*Configure GPIO pin : PWRCHECK_Pin */
	GPIO_InitStruct.Pin = PWRCHECK_Pin;
	GPIO_InitStruct.Mode = GPIO_MODE_INPUT;
	GPIO_InitStruct.Pull = GPIO_PULLDOWN;
	HAL_GPIO_Init(PWRCHECK_GPIO_Port, &GPIO_InitStruct);

	/*Configure GPIO pin : STROBE_DRV_Pin */
	GPIO_InitStruct.Pin = STROBE_DRV_Pin;
	GPIO_InitStruct.Mode = GPIO_MODE_OUTPUT_PP;
	GPIO_InitStruct.Pull = GPIO_NOPULL;
	GPIO_InitStruct.Speed = GPIO_SPEED_FREQ_VERY_HIGH;
	HAL_GPIO_Init(STROBE_DRV_GPIO_Port, &GPIO_InitStruct);

	/*Configure GPIO pins : STROBE0_Pin STROBE1_Pin STROBE2_Pin STROBE3_Pin
	 STROBE_CHK_Pin */
	GPIO_InitStruct.Pin = STROBE0_Pin | STROBE1_Pin | STROBE2_Pin | STROBE3_Pin
			| STROBE_CHK_Pin;
	GPIO_InitStruct.Mode = GPIO_MODE_IT_RISING;
	GPIO_InitStruct.Pull = GPIO_NOPULL;
	HAL_GPIO_Init(GPIOE, &GPIO_InitStruct);

	/*Configure GPIO pin : CardDetect_Pin */
	GPIO_InitStruct.Pin = CardDetect_Pin;
	GPIO_InitStruct.Mode = GPIO_MODE_INPUT;
	GPIO_InitStruct.Pull = GPIO_PULLUP;
	HAL_GPIO_Init(CardDetect_GPIO_Port, &GPIO_InitStruct);

	/*Configure GPIO pin : SIG_SHUTTER_Pin */
	GPIO_InitStruct.Pin = SIG_SHUTTER_Pin;
	GPIO_InitStruct.Mode = GPIO_MODE_OUTPUT_PP;
	GPIO_InitStruct.Pull = GPIO_NOPULL;
	GPIO_InitStruct.Speed = GPIO_SPEED_FREQ_VERY_HIGH;
	HAL_GPIO_Init(SIG_SHUTTER_GPIO_Port, &GPIO_InitStruct);

	/*Configure GPIO pins : SIG_AUTOFOCUS_Pin USB_PowerSW_Pin ENCODER_Z_Pin CS0_Pin
	 CS1_Pin CS2_Pin CS3_Pin */
	GPIO_InitStruct.Pin = SIG_AUTOFOCUS_Pin | USB_PowerSW_Pin | ENCODER_Z_Pin
			| CS0_Pin | CS1_Pin | CS2_Pin | CS3_Pin;
	GPIO_InitStruct.Mode = GPIO_MODE_OUTPUT_PP;
	GPIO_InitStruct.Pull = GPIO_NOPULL;
	GPIO_InitStruct.Speed = GPIO_SPEED_FREQ_LOW;
	HAL_GPIO_Init(GPIOG, &GPIO_InitStruct);

	/*Configure GPIO pin : USB_OverCurrent_Pin */
	GPIO_InitStruct.Pin = USB_OverCurrent_Pin;
	GPIO_InitStruct.Mode = GPIO_MODE_INPUT;
	GPIO_InitStruct.Pull = GPIO_NOPULL;
	HAL_GPIO_Init(USB_OverCurrent_GPIO_Port, &GPIO_InitStruct);

	/* EXTI interrupt init*/
	HAL_NVIC_SetPriority(EXTI15_10_IRQn, 0, 0);
	HAL_NVIC_EnableIRQ(EXTI15_10_IRQn);

}

void Error_Handler(void)
{
}

/************************ (C) COPYRIGHT STMicroelectronics *****END OF FILE****/
